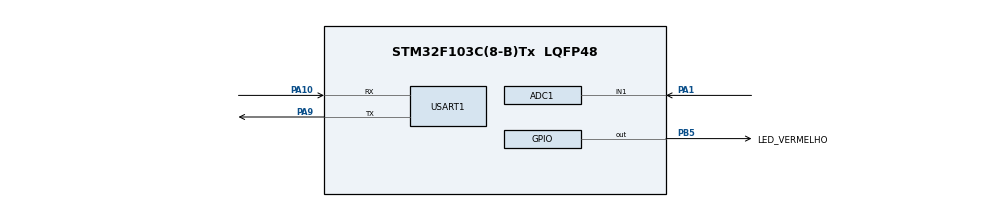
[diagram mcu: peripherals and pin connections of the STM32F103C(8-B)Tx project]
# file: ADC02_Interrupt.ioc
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Mcu.Family=STM32F1
NVIC.ADC1_2_IRQn=true\:0\:0\:false\:false\:true\:true\:true
ADC1.Rank-0\#ChannelRegularConversion=1
PA10.Mode=Asynchronous
ADC1.ContinuousConvMode=ENABLE
VP_SYS_VS_ND.Mode=No_Debug
ProjectManager.StackSize=0x400
PA9.Mode=Asynchronous
ProjectManager.TargetToolchain=STM32CubeIDE
PA9.Signal=USART1_TX
PA1.Signal=ADCx_IN1
ADC1.Channel-0\#ChannelRegularConversion=ADC_CHANNEL_1
board=custom
RCC.APB2Freq_Value=8000000
Mcu.Name=STM32F103C(8-B)Tx
ADC1.SamplingTime-0\#ChannelRegularConversion=ADC_SAMPLETIME_1CYCLE_5
PB5.Signal=GPIO_Output
Mcu.Package=LQFP48
ADC1.master=1
USART1.VirtualMode=VM_ASYNC
PA10.Signal=USART1_RX
ProjectManager.HeapSize=0x200
NVIC.PriorityGroup=NVIC_PRIORITYGROUP_4
ADC1.NbrOfConversionFlag=1
SH.ADCx_IN1.0=ADC1_IN1,IN1
PB5.GPIO_Label=LED_VERMELHO
RCC.APB1Freq_Value=8000000

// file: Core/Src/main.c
/* USER CODE BEGIN Header */
/**
  ******************************************************************************
  * @file           : main.c
  * @brief          : Main program body
  ******************************************************************************
  * @attention
  *
  * <h2><center>&copy; Copyright (c) 2021 STMicroelectronics.
  * All rights reserved.</center></h2>
  *
  * This software component is licensed by ST under BSD 3-Clause license,
  * the "License"; You may not use this file except in compliance with the
  * License. You may obtain a copy of the License at:
  *                        opensource.org/licenses/BSD-3-Clause
  *
  ******************************************************************************
  */
/* USER CODE END Header */
#include "main.h"

/* USER CODE BEGIN Includes */
#include<stdio.h>
#include<string.h>

/* USER CODE END Includes */

ADC_HandleTypeDef hadc1;

UART_HandleTypeDef huart1;

/* USER CODE BEGIN PV */
uint32_t val_adc;
uint16_t voltage;
uint8_t DadoTX[1] = {0};

/* USER CODE END PV */

void SystemClock_Config(void);
static void MX_GPIO_Init(void);
static void MX_ADC1_Init(void);
static void MX_USART1_UART_Init(void);

/* USER CODE BEGIN 0 */

// assim que a conversão é finalizada a função HAL_ADC_ConvCpltCallback() é chamada
void HAL_ADC_ConvCpltCallback(ADC_HandleTypeDef* hadc1)
{
	// recebe o valor em decimal da conversão, varia entre 0 até 2¹² - 1 (0 até 4095)
	val_adc = HAL_ADC_GetValue(hadc1);

	// converte o valor val_adc para seu equivalente da tensão de entrada
	// varia entre 0 - 3,3v. A multiplicação por 100 é usada para um valor inteiro
	// resultando em um número de 0 até 330
	voltage =  (3.3 * val_adc / 4095) * 100;

	// se o valor da tensão em PA9 for maior que 1.65 (165) e o LED em PB5 estiver apagado,
	// ele acenderá e será mandado o valor '1' para UART
	if (voltage >= (330 / 2) && !HAL_GPIO_ReadPin(LED_VERMELHO_GPIO_Port, LED_VERMELHO_Pin))
	{
		HAL_GPIO_WritePin(LED_VERMELHO_GPIO_Port, LED_VERMELHO_Pin, GPIO_PIN_SET);
		//DadoTX[1] = '1';

		//HAL_UART_Transmit(&huart1, DadoTX, 2, 10);

		char string[20];

		sprintf(string, "voltage: %d\r\n", voltage);

		HAL_UART_Transmit(&huart1, (uint8_t *) string, strlen(string),HAL_MAX_DELAY);
	}

	// se o valor em PA9 for menor que 1.65 (165) o LED em PB5 será apagado
	else if(voltage < (330 / 2))
	{
		HAL_GPIO_WritePin(LED_VERMELHO_GPIO_Port, LED_VERMELHO_Pin, GPIO_PIN_RESET);
	}
}

/* USER CODE END 0 */

int main(void)
{

  /* MCU Configuration--------------------------------------------------------*/

  /* Reset of all peripherals, Initializes the Flash interface and the Systick. */
  HAL_Init();

  /* Configure the system clock */
  SystemClock_Config();

  /* Initialize all configured peripherals */
  MX_GPIO_Init();
  MX_ADC1_Init();
  MX_USART1_UART_Init();
  /* USER CODE BEGIN 2 */

  // inicializa o periférico do ADC1 e suas conversões
  // ADC1 está localizado em PA9
  HAL_ADC_Start_IT(&hadc1);

  /* USER CODE END 2 */

  /* Infinite loop */
  while (1)
  {

  }
}

void SystemClock_Config(void)
{
  RCC_OscInitTypeDef RCC_OscInitStruct = {0};
  RCC_ClkInitTypeDef RCC_ClkInitStruct = {0};
  RCC_PeriphCLKInitTypeDef PeriphClkInit = {0};

  /** Initializes the RCC Oscillators according to the specified parameters
  * in the RCC_OscInitTypeDef structure.
  */
  RCC_OscInitStruct.OscillatorType = RCC_OSCILLATORTYPE_HSI;
  RCC_OscInitStruct.HSIState = RCC_HSI_ON;
  RCC_OscInitStruct.HSICalibrationValue = RCC_HSICALIBRATION_DEFAULT;
  RCC_OscInitStruct.PLL.PLLState = RCC_PLL_NONE;
  if (HAL_RCC_OscConfig(&RCC_OscInitStruct) != HAL_OK)
  {
    Error_Handler();
  }
  /** Initializes the CPU, AHB and APB buses clocks
  */
  RCC_ClkInitStruct.ClockType = RCC_CLOCKTYPE_HCLK|RCC_CLOCKTYPE_SYSCLK
                              |RCC_CLOCKTYPE_PCLK1|RCC_CLOCKTYPE_PCLK2;
  RCC_ClkInitStruct.SYSCLKSource = RCC_SYSCLKSOURCE_HSI;
  RCC_ClkInitStruct.AHBCLKDivider = RCC_SYSCLK_DIV1;
  RCC_ClkInitStruct.APB1CLKDivider = RCC_HCLK_DIV1;
  RCC_ClkInitStruct.APB2CLKDivider = RCC_HCLK_DIV1;

  if (HAL_RCC_ClockConfig(&RCC_ClkInitStruct, FLASH_LATENCY_0) != HAL_OK)
  {
    Error_Handler();
  }
  PeriphClkInit.PeriphClockSelection = RCC_PERIPHCLK_ADC;
  PeriphClkInit.AdcClockSelection = RCC_ADCPCLK2_DIV2;
  if (HAL_RCCEx_PeriphCLKConfig(&PeriphClkInit) != HAL_OK)
  {
    Error_Handler();
  }
}

static void MX_ADC1_Init(void)
{

  ADC_ChannelConfTypeDef sConfig = {0};

  /** Common config
  */
  hadc1.Instance = ADC1;
  hadc1.Init.ScanConvMode = ADC_SCAN_DISABLE;
  hadc1.Init.ContinuousConvMode = ENABLE;
  hadc1.Init.DiscontinuousConvMode = DISABLE;
  hadc1.Init.ExternalTrigConv = ADC_SOFTWARE_START;
  hadc1.Init.DataAlign = ADC_DATAALIGN_RIGHT;
  hadc1.Init.NbrOfConversion = 1;
  if (HAL_ADC_Init(&hadc1) != HAL_OK)
  {
    Error_Handler();
  }
  /** Configure Regular Channel
  */
  sConfig.Channel = ADC_CHANNEL_1;
  sConfig.Rank = ADC_REGULAR_RANK_1;
  sConfig.SamplingTime = ADC_SAMPLETIME_1CYCLE_5;
  if (HAL_ADC_ConfigChannel(&hadc1, &sConfig) != HAL_OK)
  {
    Error_Handler();
  }

}

static void MX_USART1_UART_Init(void)
{

  huart1.Instance = USART1;
  huart1.Init.BaudRate = 9600;
  huart1.Init.WordLength = UART_WORDLENGTH_8B;
  huart1.Init.StopBits = UART_STOPBITS_1;
  huart1.Init.Parity = UART_PARITY_NONE;
  huart1.Init.Mode = UART_MODE_TX_RX;
  huart1.Init.HwFlowCtl = UART_HWCONTROL_NONE;
  huart1.Init.OverSampling = UART_OVERSAMPLING_16;
  if (HAL_UART_Init(&huart1) != HAL_OK)
  {
    Error_Handler();
  }

}

static void MX_GPIO_Init(void)
{
  GPIO_InitTypeDef GPIO_InitStruct = {0};

  /* GPIO Ports Clock Enable */
  __HAL_RCC_GPIOA_CLK_ENABLE();
  __HAL_RCC_GPIOB_CLK_ENABLE();

  /*Configure GPIO pin Output Level */
  HAL_GPIO_WritePin(LED_VERMELHO_GPIO_Port, LED_VERMELHO_Pin, GPIO_PIN_RESET);

  /*Configure GPIO pin : LED_VERMELHO_Pin */
  GPIO_InitStruct.Pin = LED_VERMELHO_Pin;
  GPIO_InitStruct.Mode = GPIO_MODE_OUTPUT_PP;
  GPIO_InitStruct.Pull = GPIO_NOPULL;
  GPIO_InitStruct.Speed = GPIO_SPEED_FREQ_LOW;
  HAL_GPIO_Init(LED_VERMELHO_GPIO_Port, &GPIO_InitStruct);

}

void Error_Handler(void)
{
  __disable_irq();
  while (1)
  {
  }
}

/************************ (C) COPYRIGHT STMicroelectronics *****END OF FILE****/
